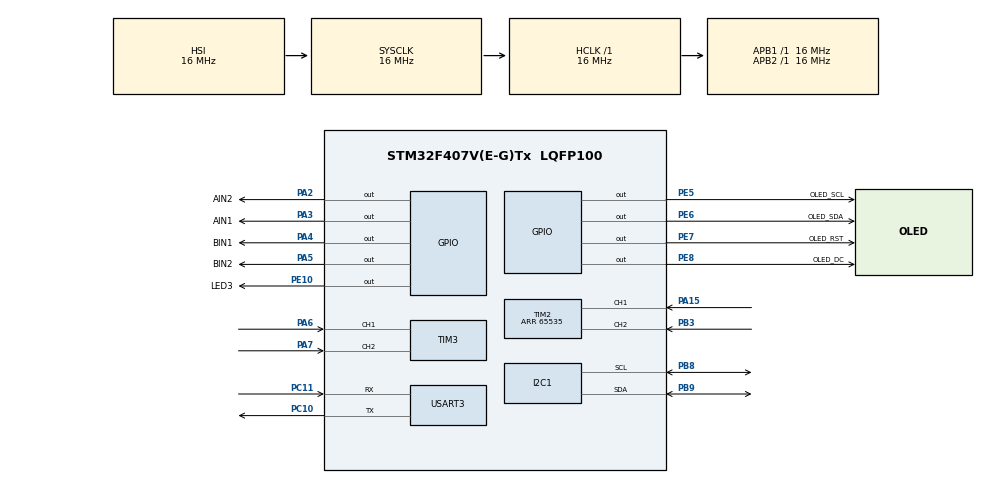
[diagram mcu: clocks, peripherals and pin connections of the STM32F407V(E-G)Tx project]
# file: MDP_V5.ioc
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FREERTOS.Tasks01=defaultTask,40,128,StartDefaultTask,Default,NULL,Dynamic,NULL,NULL;DisplayTask,40,128,Display,Default,NULL,Dynamic,NULL,NULL;Motor_L,40,128,LeftMotor,Default,NULL,Dynamic,NULL,NULL;Motor_R,8,128,RightMotor,Default,NULL,Dynamic,NULL,NULL;GyroReadTask,40,128,GyroFunc,Default,NULL,Dynamic,NULL,NULL
Mcu.Family=STM32F4
Mcu.Name=STM32F407V(E-G)Tx
Mcu.Package=LQFP100
NVIC.PriorityGroup=NVIC_PRIORITYGROUP_4
NVIC.USART3_IRQn=true\:5\:0\:false\:false\:true\:true\:true\:true\:true
PA15.Signal=S_TIM2_CH1_ETR
PA2.GPIO_Label=AIN2
PA2.Signal=GPIO_Output
PA3.GPIO_Label=AIN1
PA3.Signal=GPIO_Output
PA4.GPIO_Label=BIN1
PA4.Signal=GPIO_Output
PA5.GPIO_Label=BIN2
PA5.Signal=GPIO_Output
PA6.Signal=S_TIM3_CH1
PA7.Signal=S_TIM3_CH2
PB3.Signal=S_TIM2_CH2
PB8.Mode=I2C
PB8.Signal=I2C1_SCL
PB9.Mode=I2C
PB9.Signal=I2C1_SDA
PC10.Mode=Asynchronous
PC10.Signal=USART3_TX
PC11.Mode=Asynchronous
PC11.Signal=USART3_RX
PC6.GPIO_Label=PWMA
PC6.Signal=S_TIM8_CH1
PC7.GPIO_Label=PWMB
PC7.Signal=S_TIM8_CH2
PE10.GPIO_Label=LED3
PE10.Signal=GPIO_Output
PE14.GPIO_Label=Servo
PE14.Signal=S_TIM1_CH4
PE5.GPIO_Label=OLED_SCL
PE5.Signal=GPIO_Output
PE6.GPIO_Label=OLED_SDA
PE6.Signal=GPIO_Output
PE7.GPIO_Label=OLED_RST
PE7.Signal=GPIO_Output
PE8.GPIO_Label=OLED_DC
PE8.Signal=GPIO_Output
ProjectManager.HeapSize=0x200
ProjectManager.StackSize=0x400
ProjectManager.TargetToolchain=STM32CubeIDE
RCC.AHBFreq_Value=16000000
RCC.APB1Freq_Value=16000000
RCC.APB2Freq_Value=16000000
RCC.CortexFreq_Value=16000000
RCC.HSE_VALUE=25000000
RCC.HSI_VALUE=16000000
RCC.LSE_VALUE=32768
RCC.SYSCLKFreq_VALUE=16000000
RCC.VCOOutputFreq_Value=192000000
SH.S_TIM1_CH4.0=TIM1_CH4
SH.S_TIM2_CH1_ETR.0=TIM2_CH1,Encoder_Interface
SH.S_TIM2_CH2.0=TIM2_CH2,Encoder_Interface
SH.S_TIM3_CH1.0=TIM3_CH1,Encoder_Interface
SH.S_TIM3_CH2.0=TIM3_CH2,Encoder_Interface
SH.S_TIM8_CH1.0=TIM8_CH1
SH.S_TIM8_CH2.0=TIM8_CH2
TIM1.Channel-PWM\ Generation4\ No\ Output=TIM_CHANNEL_4
TIM1.Period=1000
TIM1.Prescaler=160
TIM2.EncoderMode=TIM_ENCODERMODE_TI12
TIM2.IC1Filter=10
TIM2.IC2Filter=10
TIM2.Period=65535
TIM3.EncoderMode=TIM_ENCODERMODE_TI12
TIM3.IC1Filter=10
TIM3.IC2Filter=10
TIM8.Channel-PWM\ Generation1\ No\ Output=TIM_CHANNEL_1
TIM8.Channel-PWM\ Generation2\ No\ Output=TIM_CHANNEL_2
TIM8.Period=7199
USART3.VirtualMode=VM_ASYNC
VP_FREERTOS_VS_CMSIS_V2.Mode=CMSIS_V2
VP_TIM1_VS_ClockSourceINT.Mode=Internal
VP_TIM1_VS_no_output4.Mode=PWM Generation4 No Output
VP_TIM8_VS_ClockSourceINT.Mode=Internal
VP_TIM8_VS_no_output1.Mode=PWM Generation1 No Output
VP_TIM8_VS_no_output2.Mode=PWM Generation2 No Output
board=custom

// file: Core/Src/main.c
/* USER CODE BEGIN Header */
/**
  ******************************************************************************
  * @file           : main.c
  * @brief          : Main program body
  ******************************************************************************
  * @attention
  *
  * Copyright (c) 2022 STMicroelectronics.
  * All rights reserved.
  *
  * This software is licensed under terms that can be found in the LICENSE file
  * in the root directory of this software component.
  * If no LICENSE file comes with this software, it is provided AS-IS.
  *
  ******************************************************************************
  */
/* USER CODE END Header */
#include "main.h"
#include "cmsis_os.h"

/* USER CODE BEGIN Includes */
#include "oled.h"
#include "ICM20948.h"
#include "math.h"
/* USER CODE END Includes */

I2C_HandleTypeDef hi2c1;

TIM_HandleTypeDef htim1;
TIM_HandleTypeDef htim2;
TIM_HandleTypeDef htim3;
TIM_HandleTypeDef htim8;

UART_HandleTypeDef huart3;

/* Definitions for defaultTask */
osThreadId_t defaultTaskHandle;
const osThreadAttr_t defaultTask_attributes = {
  .name = "defaultTask",
  .stack_size = 128 * 4,
  .priority = (osPriority_t) osPriorityHigh,
};
/* Definitions for DisplayTask */
osThreadId_t DisplayTaskHandle;
const osThreadAttr_t DisplayTask_attributes = {
  .name = "DisplayTask",
  .stack_size = 128 * 4,
  .priority = (osPriority_t) osPriorityHigh,
};
/* Definitions for Motor_L */
osThreadId_t Motor_LHandle;
const osThreadAttr_t Motor_L_attributes = {
  .name = "Motor_L",
  .stack_size = 128 * 4,
  .priority = (osPriority_t) osPriorityHigh,
};
/* Definitions for Motor_R */
osThreadId_t Motor_RHandle;
const osThreadAttr_t Motor_R_attributes = {
  .name = "Motor_R",
  .stack_size = 128 * 4,
  .priority = (osPriority_t) osPriorityLow,
};
/* Definitions for GyroReadTask */
osThreadId_t GyroReadTaskHandle;
const osThreadAttr_t GyroReadTask_attributes = {
  .name = "GyroReadTask",
  .stack_size = 128 * 4,
  .priority = (osPriority_t) osPriorityHigh,
};

void SystemClock_Config(void);
static void MX_GPIO_Init(void);
static void MX_TIM8_Init(void);
static void MX_TIM2_Init(void);
static void MX_TIM1_Init(void);
static void MX_USART3_UART_Init(void);
static void MX_TIM3_Init(void);
static void MX_I2C1_Init(void);
void StartDefaultTask(void *argument);
void Display(void *argument);
void LeftMotor(void *argument);
void RightMotor(void *argument);
void GyroFunc(void *argument);

/* USER CODE BEGIN 0 */
uint16_t pwmVal = 1500, pwmVal_S = 1500*12/28, pwmVal_L = 1500;
uint8_t Buffer[5];
int32_t heading_rbt = 0;

/* USER CODE END 0 */

int main(void)
{

  /* MCU Configuration--------------------------------------------------------*/

  /* Reset of all peripherals, Initializes the Flash interface and the Systick. */
  HAL_Init();

  /* USER CODE BEGIN Init */

  Buffer[0] = 'd';
  Buffer[1] = 'W';
  Buffer[2] = '0';
  Buffer[3] = '0';
  Buffer[4] = '0';
  /* USER CODE END Init */

  /* Configure the system clock */
  SystemClock_Config();

  /* Initialize all configured peripherals */
  MX_GPIO_Init();
  MX_TIM8_Init();
  MX_TIM2_Init();
  MX_TIM1_Init();
  MX_USART3_UART_Init();
  MX_TIM3_Init();
  MX_I2C1_Init();
  /* USER CODE BEGIN 2 */
  OLED_Init();
  CoreDebug->DEMCR |= CoreDebug_DEMCR_TRCENA_Msk;
  DWT->CYCCNT = 0;
  DWT->CTRL |= DWT_CTRL_CYCCNTENA_Msk;
  /* USER CODE END 2 */

  /* Init scheduler */
  osKernelInitialize();

  /* Create the thread(s) */
  /* creation of defaultTask */
  defaultTaskHandle = osThreadNew(StartDefaultTask, NULL, &defaultTask_attributes);

  /* creation of DisplayTask */
  DisplayTaskHandle = osThreadNew(Display, NULL, &DisplayTask_attributes);

  /* creation of Motor_L */
  Motor_LHandle = osThreadNew(LeftMotor, NULL, &Motor_L_attributes);

  /* creation of Motor_R */
  Motor_RHandle = osThreadNew(RightMotor, NULL, &Motor_R_attributes);

  /* creation of GyroReadTask */
  GyroReadTaskHandle = osThreadNew(GyroFunc, NULL, &GyroReadTask_attributes);

  /* Start scheduler */
  osKernelStart();

  /* We should never get here as control is now taken by the scheduler */
  /* Infinite loop */
  while (1)
  {

  }
}

void SystemClock_Config(void)
{
  RCC_OscInitTypeDef RCC_OscInitStruct = {0};
  RCC_ClkInitTypeDef RCC_ClkInitStruct = {0};

  /** Configure the main internal regulator output voltage
  */
  __HAL_RCC_PWR_CLK_ENABLE();
  __HAL_PWR_VOLTAGESCALING_CONFIG(PWR_REGULATOR_VOLTAGE_SCALE1);
  /** Initializes the RCC Oscillators according to the specified parameters
  * in the RCC_OscInitTypeDef structure.
  */
  RCC_OscInitStruct.OscillatorType = RCC_OSCILLATORTYPE_HSI;
  RCC_OscInitStruct.HSIState = RCC_HSI_ON;
  RCC_OscInitStruct.HSICalibrationValue = RCC_HSICALIBRATION_DEFAULT;
  RCC_OscInitStruct.PLL.PLLState = RCC_PLL_NONE;
  if (HAL_RCC_OscConfig(&RCC_OscInitStruct) != HAL_OK)
  {
    Error_Handler();
  }
  /** Initializes the CPU, AHB and APB buses clocks
  */
  RCC_ClkInitStruct.ClockType = RCC_CLOCKTYPE_HCLK|RCC_CLOCKTYPE_SYSCLK
                              |RCC_CLOCKTYPE_PCLK1|RCC_CLOCKTYPE_PCLK2;
  RCC_ClkInitStruct.SYSCLKSource = RCC_SYSCLKSOURCE_HSI;
  RCC_ClkInitStruct.AHBCLKDivider = RCC_SYSCLK_DIV1;
  RCC_ClkInitStruct.APB1CLKDivider = RCC_HCLK_DIV1;
  RCC_ClkInitStruct.APB2CLKDivider = RCC_HCLK_DIV1;

  if (HAL_RCC_ClockConfig(&RCC_ClkInitStruct, FLASH_LATENCY_0) != HAL_OK)
  {
    Error_Handler();
  }
}

static void MX_I2C1_Init(void)
{

  hi2c1.Instance = I2C1;
  hi2c1.Init.ClockSpeed = 100000;
  hi2c1.Init.DutyCycle = I2C_DUTYCYCLE_2;
  hi2c1.Init.OwnAddress1 = 0;
  hi2c1.Init.AddressingMode = I2C_ADDRESSINGMODE_7BIT;
  hi2c1.Init.DualAddressMode = I2C_DUALADDRESS_DISABLE;
  hi2c1.Init.OwnAddress2 = 0;
  hi2c1.Init.GeneralCallMode = I2C_GENERALCALL_DISABLE;
  hi2c1.Init.NoStretchMode = I2C_NOSTRETCH_DISABLE;
  if (HAL_I2C_Init(&hi2c1) != HAL_OK)
  {
    Error_Handler();
  }

}

static void MX_TIM1_Init(void)
{

  TIM_ClockConfigTypeDef sClockSourceConfig = {0};
  TIM_MasterConfigTypeDef sMasterConfig = {0};
  TIM_OC_InitTypeDef sConfigOC = {0};
  TIM_BreakDeadTimeConfigTypeDef sBreakDeadTimeConfig = {0};

  htim1.Instance = TIM1;
  htim1.Init.Prescaler = 160;
  htim1.Init.CounterMode = TIM_COUNTERMODE_UP;
  htim1.Init.Period = 1000;
  htim1.Init.ClockDivision = TIM_CLOCKDIVISION_DIV1;
  htim1.Init.RepetitionCounter = 0;
  htim1.Init.AutoReloadPreload = TIM_AUTORELOAD_PRELOAD_DISABLE;
  if (HAL_TIM_Base_Init(&htim1) != HAL_OK)
  {
    Error_Handler();
  }
  sClockSourceConfig.ClockSource = TIM_CLOCKSOURCE_INTERNAL;
  if (HAL_TIM_ConfigClockSource(&htim1, &sClockSourceConfig) != HAL_OK)
  {
    Error_Handler();
  }
  if (HAL_TIM_PWM_Init(&htim1) != HAL_OK)
  {
    Error_Handler();
  }
  sMasterConfig.MasterOutputTrigger = TIM_TRGO_RESET;
  sMasterConfig.MasterSlaveMode = TIM_MASTERSLAVEMODE_DISABLE;
  if (HAL_TIMEx_MasterConfigSynchronization(&htim1, &sMasterConfig) != HAL_OK)
  {
    Error_Handler();
  }
  sConfigOC.OCMode = TIM_OCMODE_PWM1;
  sConfigOC.Pulse = 0;
  sConfigOC.OCPolarity = TIM_OCPOLARITY_HIGH;
  sConfigOC.OCFastMode = TIM_OCFAST_DISABLE;
  sConfigOC.OCIdleState = TIM_OCIDLESTATE_RESET;
  sConfigOC.OCNIdleState = TIM_OCNIDLESTATE_RESET;
  if (HAL_TIM_PWM_ConfigChannel(&htim1, &sConfigOC, TIM_CHANNEL_4) != HAL_OK)
  {
    Error_Handler();
  }
  sBreakDeadTimeConfig.OffStateRunMode = TIM_OSSR_DISABLE;
  sBreakDeadTimeConfig.OffStateIDLEMode = TIM_OSSI_DISABLE;
  sBreakDeadTimeConfig.LockLevel = TIM_LOCKLEVEL_OFF;
  sBreakDeadTimeConfig.DeadTime = 0;
  sBreakDeadTimeConfig.BreakState = TIM_BREAK_DISABLE;
  sBreakDeadTimeConfig.BreakPolarity = TIM_BREAKPOLARITY_HIGH;
  sBreakDeadTimeConfig.AutomaticOutput = TIM_AUTOMATICOUTPUT_DISABLE;
  if (HAL_TIMEx_ConfigBreakDeadTime(&htim1, &sBreakDeadTimeConfig) != HAL_OK)
  {
    Error_Handler();
  }

}

static void MX_TIM2_Init(void)
{

  TIM_Encoder_InitTypeDef sConfig = {0};
  TIM_MasterConfigTypeDef sMasterConfig = {0};

  htim2.Instance = TIM2;
  htim2.Init.Prescaler = 0;
  htim2.Init.CounterMode = TIM_COUNTERMODE_UP;
  htim2.Init.Period = 65535;
  htim2.Init.ClockDivision = TIM_CLOCKDIVISION_DIV1;
  htim2.Init.AutoReloadPreload = TIM_AUTORELOAD_PRELOAD_DISABLE;
  sConfig.EncoderMode = TIM_ENCODERMODE_TI12;
  sConfig.IC1Polarity = TIM_ICPOLARITY_RISING;
  sConfig.IC1Selection = TIM_ICSELECTION_DIRECTTI;
  sConfig.IC1Prescaler = TIM_ICPSC_DIV1;
  sConfig.IC1Filter = 10;
  sConfig.IC2Polarity = TIM_ICPOLARITY_RISING;
  sConfig.IC2Selection = TIM_ICSELECTION_DIRECTTI;
  sConfig.IC2Prescaler = TIM_ICPSC_DIV1;
  sConfig.IC2Filter = 10;
  if (HAL_TIM_Encoder_Init(&htim2, &sConfig) != HAL_OK)
  {
    Error_Handler();
  }
  sMasterConfig.MasterOutputTrigger = TIM_TRGO_RESET;
  sMasterConfig.MasterSlaveMode = TIM_MASTERSLAVEMODE_DISABLE;
  if (HAL_TIMEx_MasterConfigSynchronization(&htim2, &sMasterConfig) != HAL_OK)
  {
    Error_Handler();
  }

}

static void MX_TIM3_Init(void)
{

  TIM_Encoder_InitTypeDef sConfig = {0};
  TIM_MasterConfigTypeDef sMasterConfig = {0};

  htim3.Instance = TIM3;
  htim3.Init.Prescaler = 0;
  htim3.Init.CounterMode = TIM_COUNTERMODE_UP;
  htim3.Init.Period = 65535;
  htim3.Init.ClockDivision = TIM_CLOCKDIVISION_DIV1;
  htim3.Init.AutoReloadPreload = TIM_AUTORELOAD_PRELOAD_DISABLE;
  sConfig.EncoderMode = TIM_ENCODERMODE_TI12;
  sConfig.IC1Polarity = TIM_ICPOLARITY_RISING;
  sConfig.IC1Selection = TIM_ICSELECTION_DIRECTTI;
  sConfig.IC1Prescaler = TIM_ICPSC_DIV1;
  sConfig.IC1Filter = 10;
  sConfig.IC2Polarity = TIM_ICPOLARITY_RISING;
  sConfig.IC2Selection = TIM_ICSELECTION_DIRECTTI;
  sConfig.IC2Prescaler = TIM_ICPSC_DIV1;
  sConfig.IC2Filter = 10;
  if (HAL_TIM_Encoder_Init(&htim3, &sConfig) != HAL_OK)
  {
    Error_Handler();
  }
  sMasterConfig.MasterOutputTrigger = TIM_TRGO_RESET;
  sMasterConfig.MasterSlaveMode = TIM_MASTERSLAVEMODE_DISABLE;
  if (HAL_TIMEx_MasterConfigSynchronization(&htim3, &sMasterConfig) != HAL_OK)
  {
    Error_Handler();
  }

}

static void MX_TIM8_Init(void)
{

  TIM_ClockConfigTypeDef sClockSourceConfig = {0};
  TIM_MasterConfigTypeDef sMasterConfig = {0};
  TIM_OC_InitTypeDef sConfigOC = {0};
  TIM_BreakDeadTimeConfigTypeDef sBreakDeadTimeConfig = {0};

  htim8.Instance = TIM8;
  htim8.Init.Prescaler = 0;
  htim8.Init.CounterMode = TIM_COUNTERMODE_UP;
  htim8.Init.Period = 7199;
  htim8.Init.ClockDivision = TIM_CLOCKDIVISION_DIV1;
  htim8.Init.RepetitionCounter = 0;
  htim8.Init.AutoReloadPreload = TIM_AUTORELOAD_PRELOAD_DISABLE;
  if (HAL_TIM_Base_Init(&htim8) != HAL_OK)
  {
    Error_Handler();
  }
  sClockSourceConfig.ClockSource = TIM_CLOCKSOURCE_INTERNAL;
  if (HAL_TIM_ConfigClockSource(&htim8, &sClockSourceConfig) != HAL_OK)
  {
    Error_Handler();
  }
  if (HAL_TIM_PWM_Init(&htim8) != HAL_OK)
  {
    Error_Handler();
  }
  sMasterConfig.MasterOutputTrigger = TIM_TRGO_RESET;
  sMasterConfig.MasterSlaveMode = TIM_MASTERSLAVEMODE_DISABLE;
  if (HAL_TIMEx_MasterConfigSynchronization(&htim8, &sMasterConfig) != HAL_OK)
  {
    Error_Handler();
  }
  sConfigOC.OCMode = TIM_OCMODE_PWM1;
  sConfigOC.Pulse = 0;
  sConfigOC.OCPolarity = TIM_OCPOLARITY_HIGH;
  sConfigOC.OCNPolarity = TIM_OCNPOLARITY_HIGH;
  sConfigOC.OCFastMode = TIM_OCFAST_DISABLE;
  sConfigOC.OCIdleState = TIM_OCIDLESTATE_RESET;
  sConfigOC.OCNIdleState = TIM_OCNIDLESTATE_RESET;
  if (HAL_TIM_PWM_ConfigChannel(&htim8, &sConfigOC, TIM_CHANNEL_1) != HAL_OK)
  {
    Error_Handler();
  }
  if (HAL_TIM_PWM_ConfigChannel(&htim8, &sConfigOC, TIM_CHANNEL_2) != HAL_OK)
  {
    Error_Handler();
  }
  sBreakDeadTimeConfig.OffStateRunMode = TIM_OSSR_DISABLE;
  sBreakDeadTimeConfig.OffStateIDLEMode = TIM_OSSI_DISABLE;
  sBreakDeadTimeConfig.LockLevel = TIM_LOCKLEVEL_OFF;
  sBreakDeadTimeConfig.DeadTime = 0;
  sBreakDeadTimeConfig.BreakState = TIM_BREAK_DISABLE;
  sBreakDeadTimeConfig.BreakPolarity = TIM_BREAKPOLARITY_HIGH;
  sBreakDeadTimeConfig.AutomaticOutput = TIM_AUTOMATICOUTPUT_DISABLE;
  if (HAL_TIMEx_ConfigBreakDeadTime(&htim8, &sBreakDeadTimeConfig) != HAL_OK)
  {
    Error_Handler();
  }

}

static void MX_USART3_UART_Init(void)
{

  huart3.Instance = USART3;
  huart3.Init.BaudRate = 115200;
  huart3.Init.WordLength = UART_WORDLENGTH_8B;
  huart3.Init.StopBits = UART_STOPBITS_1;
  huart3.Init.Parity = UART_PARITY_NONE;
  huart3.Init.Mode = UART_MODE_TX_RX;
  huart3.Init.HwFlowCtl = UART_HWCONTROL_NONE;
  huart3.Init.OverSampling = UART_OVERSAMPLING_16;
  if (HAL_UART_Init(&huart3) != HAL_OK)
  {
    Error_Handler();
  }

}

static void MX_GPIO_Init(void)
{
  GPIO_InitTypeDef GPIO_InitStruct = {0};

  /* GPIO Ports Clock Enable */
  __HAL_RCC_GPIOE_CLK_ENABLE();
  __HAL_RCC_GPIOA_CLK_ENABLE();
  __HAL_RCC_GPIOC_CLK_ENABLE();
  __HAL_RCC_GPIOB_CLK_ENABLE();

  /*Configure GPIO pin Output Level */
  HAL_GPIO_WritePin(GPIOE, OLED_SCL_Pin|OLED_SDA_Pin|OLED_RST_Pin|OLED_DC_Pin
                          |LED3_Pin, GPIO_PIN_RESET);

  /*Configure GPIO pin Output Level */
  HAL_GPIO_WritePin(GPIOA, AIN2_Pin|AIN1_Pin|BIN1_Pin|BIN2_Pin, GPIO_PIN_RESET);

  /*Configure GPIO pins : OLED_SCL_Pin OLED_SDA_Pin OLED_RST_Pin OLED_DC_Pin
                           LED3_Pin */
  GPIO_InitStruct.Pin = OLED_SCL_Pin|OLED_SDA_Pin|OLED_RST_Pin|OLED_DC_Pin
                          |LED3_Pin;
  GPIO_InitStruct.Mode = GPIO_MODE_OUTPUT_PP;
  GPIO_InitStruct.Pull = GPIO_NOPULL;
  GPIO_InitStruct.Speed = GPIO_SPEED_FREQ_LOW;
  HAL_GPIO_Init(GPIOE, &GPIO_InitStruct);

  /*Configure GPIO pins : AIN2_Pin AIN1_Pin BIN1_Pin BIN2_Pin */
  GPIO_InitStruct.Pin = AIN2_Pin|AIN1_Pin|BIN1_Pin|BIN2_Pin;
  GPIO_InitStruct.Mode = GPIO_MODE_OUTPUT_PP;
  GPIO_InitStruct.Pull = GPIO_NOPULL;
  GPIO_InitStruct.Speed = GPIO_SPEED_FREQ_LOW;
  HAL_GPIO_Init(GPIOA, &GPIO_InitStruct);

}

/* USER CODE BEGIN 4 */
uint8_t is_right(int32_t head1, int32_t head2)
{
	if(head2 > head1 && head2 - head1 < 18000) return 1;
	else if(head2 < head1 && head2 + 36000 - head1 < 18000)return 1;
	return 0;
}
int32_t get_heading_error(int32_t head1, int32_t head2, uint8_t is_counterclock)
{
	if(is_counterclock){
		if(head1 < head2){
			return head2 - head1;
		}
		else{

		}
	}
}
/* USER CODE END 4 */

void StartDefaultTask(void *argument)
{
  /* USER CODE BEGIN 5 */
  uint8_t hello[20];
  /* Infinite loop */
  HAL_UART_Receive_IT(&huart3,(uint8_t *) Buffer,5);
  for(;;)
  {
	HAL_UART_Receive_IT(&huart3,(uint8_t *) Buffer,5);
	sprintf(hello, "buff:%s", Buffer);
	OLED_ShowString(10,20,hello);
	HAL_GPIO_TogglePin(LED3_GPIO_Port,LED3_Pin);
    osDelay(1);
  }
  /* USER CODE END 5 */
}

void Display(void *argument)
{
  /* USER CODE BEGIN Display */
  uint8_t hello[20] = "testV5!\0";
  /* Infinite loop */
  for(;;)
  {
	sprintf(hello, "V5");
	OLED_ShowString(10,10,hello);
	sprintf(hello, "angle:%d", heading_rbt); // @suppress("Float formatting support")
	OLED_ShowString(10,30,hello);
	OLED_Refresh_Gram();
    osDelay(1);
  }
  /* USER CODE END Display */
}

void LeftMotor(void *argument)
{
  /* USER CODE BEGIN LeftMotor */

  HAL_TIM_PWM_Start(&htim8,TIM_CHANNEL_1);
  HAL_TIM_PWM_Start(&htim8,TIM_CHANNEL_2);
  HAL_TIM_PWM_Start(&htim1,TIM_CHANNEL_4);
  HAL_TIM_Encoder_Start(&htim2, TIM_CHANNEL_ALL);

  int cnt1, cnt2, pulse;
  int32_t tick, dist, angle, pulseneeded, pulsetotal;
  uint8_t hello[20];

  int32_t current_heading = heading_rbt;
  int32_t target_heading, start_heading, heading_error;
  int32_t angle_progress, delta_angle, prev_heading;

  cnt1 = __HAL_TIM_GET_COUNTER(&htim2);
  tick = HAL_GetTick();
  int8_t value;

  /* Infinite loop */
  for(;;){
	  value = (Buffer[2] - '0')*100 + (Buffer[3] - '0')*10 + Buffer[4] - '0';
	  dist = value;
	  angle = value*100;
	  if(Buffer[0] == 'F'){
		  HAL_GPIO_WritePin(GPIOA, AIN2_Pin, GPIO_PIN_RESET);
		  HAL_GPIO_WritePin(GPIOA, AIN1_Pin, GPIO_PIN_SET);
		  HAL_GPIO_WritePin(GPIOA, BIN2_Pin, GPIO_PIN_RESET);
		  HAL_GPIO_WritePin(GPIOA, BIN1_Pin, GPIO_PIN_SET);
	  }
	  else if(Buffer[0] == 'B'){
		  HAL_GPIO_WritePin(GPIOA, AIN1_Pin, GPIO_PIN_RESET);
		  HAL_GPIO_WritePin(GPIOA, AIN2_Pin, GPIO_PIN_SET);
		  HAL_GPIO_WritePin(GPIOA, BIN1_Pin, GPIO_PIN_RESET);
		  HAL_GPIO_WritePin(GPIOA, BIN2_Pin, GPIO_PIN_SET);
	  }
	  else{
		  __HAL_TIM_SetCompare(&htim8,TIM_CHANNEL_1,0);
		  __HAL_TIM_SetCompare(&htim8,TIM_CHANNEL_2,0);
		  continue;
	  }
	  switch(Buffer[1]){
	  case 'L':
		  htim1.Instance ->CCR4 = 91;
		  HAL_Delay(500);
//		  pulseneeded = angle*34*pwmVal_S/pwmVal_L;
//		  pulseneeded = angle*0.115*59;
		  //pulseneeded = angle*0.35*59*60/90;
//		  current_heading = heading_rbt;
//		  start_heading = current_heading;
//		  if(Buffer[0] == 'F'){
//			  if(current_heading < angle*100) target_heading = current_heading + 36000 - angle*100;
//			  else target_heading = current_heading - angle*100;
//			  angle_progress = 0;
//		  }
//		  else if(Buffer[0] == 'B'){
//			  target_heading = current_heading + angle*100;
//			  if(target_heading >= 36000) target_heading = target_heading - 36000;
//		  }
//		  __HAL_TIM_SetCompare(&htim8,TIM_CHANNEL_1,pwmVal_S);
//		  __HAL_TIM_SetCompare(&htim8,TIM_CHANNEL_2,pwmVal_L);
		  break;
	  case 'R':
		  htim1.Instance ->CCR4 = 240;
		  HAL_Delay(500);
//		  pulseneeded = angle*39.4;
//		  pulseneeded = angle*0.408*59;
		  //pulseneeded = angle*0.35*59*115/90;
//		  current_heading = heading_rbt;
//		  start_heading = current_heading;
//		  if(Buffer[0] == 'F'){
//			  target_heading = current_heading + angle*100;
//			  if(target_heading >= 36000) target_heading = target_heading - 36000;
//		  }
//		  else if(Buffer[0] == 'B'){
//			  if(current_heading < angle*100) target_heading = current_heading + 36000 - angle*100;
//			  else target_heading = current_heading - angle*100;
//		  }
//		  __HAL_TIM_SetCompare(&htim8,TIM_CHANNEL_1,pwmVal_L);
//		  __HAL_TIM_SetCompare(&htim8,TIM_CHANNEL_2,pwmVal_S);
		  break;
	  default:
		  htim1.Instance ->CCR4 = 148.4;
		  HAL_Delay(500);
		  //pulseneeded = dist*68*1.03;
		  pulseneeded = dist*45.4*10/6.55*70/66;
		  __HAL_TIM_SetCompare(&htim8,TIM_CHANNEL_1,pwmVal);
		  __HAL_TIM_SetCompare(&htim8,TIM_CHANNEL_2,pwmVal);
		  pulsetotal = 0;
		  do{
			  if(HAL_GetTick()-tick > 50L){
					sprintf(hello, "pulseL:%5d\0", pulseneeded);
					OLED_ShowString(10,30,hello);

					cnt2 = __HAL_TIM_GET_COUNTER(&htim2);
					if(__HAL_TIM_IS_TIM_COUNTING_DOWN(&htim2)){
						if(cnt2<cnt1)
						{
							pulse = cnt1 - cnt2;
							//sprintf(hello, "total1:%5d\0", pulsetotal);
						}
						else
						{
							pulse = (65535 - cnt2) + cnt1;
							//sprintf(hello, "total2:%5d\0", pulsetotal);
						}
					}
					else{
						if(cnt2>cnt1)
						{
							pulse = cnt2 - cnt1;
							//sprintf(hello, "total3:%5d\0", pulsetotal);
						}
						else
						{
							pulse = (65535 - cnt1) + cnt2;
							//sprintf(hello, "total4:%5d\0", pulsetotal);
						}
					}
					pulsetotal = (pulsetotal + pulse)%65535;
					//OLED_ShowString(10,40,hello);
					cnt1 = __HAL_TIM_GET_COUNTER(&htim2);
					tick = HAL_GetTick();
			  }
		  }while(pulsetotal < pulseneeded);
		  __HAL_TIM_SetCompare(&htim8,TIM_CHANNEL_1,0);
		  __HAL_TIM_SetCompare(&htim8,TIM_CHANNEL_2,0);
		  Buffer[0] = 'd';
		  HAL_UART_Transmit(&huart3,"R", sizeof("R"), HAL_MAX_DELAY);
		  continue;
	  }
	  delta_angle = 0;
	  angle_progress = 0;
	  prev_heading = heading_rbt;
	  if(Buffer[0] == 'F' && Buffer[1] == 'L'){
		  do{
			  __HAL_TIM_SetCompare(&htim8,TIM_CHANNEL_1,pwmVal_S*3);
			  __HAL_TIM_SetCompare(&htim8,TIM_CHANNEL_2,pwmVal_L*3);

			  delta_angle = prev_heading - heading_rbt;
			  prev_heading = heading_rbt;
			  if(delta_angle < -18000) delta_angle = delta_angle + 36000;
			  angle_progress = angle_progress + delta_angle;
			  sprintf(hello, "currentL%d ", angle_progress);
			  OLED_ShowString(10,40,hello);
			  sprintf(hello, "targetL%d ", angle);
			  OLED_ShowString(10,50,hello);
			  osDelay(1);
		  }while(angle_progress < angle);
		  HAL_GPIO_WritePin(GPIOA, AIN1_Pin, GPIO_PIN_RESET);
		  HAL_GPIO_WritePin(GPIOA, AIN2_Pin, GPIO_PIN_SET);
		  HAL_GPIO_WritePin(GPIOA, BIN1_Pin, GPIO_PIN_RESET);
		  HAL_GPIO_WritePin(GPIOA, BIN2_Pin, GPIO_PIN_SET);

		  heading_error = target_heading - current_heading;
		  if(heading_error < -18000) heading_error = heading_error + 36000;
		  do{
			  __HAL_TIM_SetCompare(&htim8,TIM_CHANNEL_1,pwmVal_S*0.7);
			  __HAL_TIM_SetCompare(&htim8,TIM_CHANNEL_2,pwmVal_L*0.7);

			  delta_angle = heading_rbt - prev_heading;
			  prev_heading = heading_rbt;
			  if(delta_angle < -18000) delta_angle = delta_angle + 36000;
			  angle_progress = angle_progress - delta_angle;
			  sprintf(hello, "currentS%d ", angle_progress);
			  OLED_ShowString(10,40,hello);
			  sprintf(hello, "targetS%d ", angle);
			  OLED_ShowString(10,50,hello);
			  osDelay(1);
		  }while(angle_progress > angle);
	  }
	  else if(Buffer[0] == 'B' && Buffer[1] == 'L'){
		  while(abs(current_heading - target_heading ) > 100){
			  current_heading = heading_rbt;
			  __HAL_TIM_SetCompare(&htim8,TIM_CHANNEL_1,pwmVal_S*1);
			  __HAL_TIM_SetCompare(&htim8,TIM_CHANNEL_2,pwmVal_L*1);
			  HAL_Delay(1);
		  }
//		  while(!is_right(target_heading, current_heading)){
//			  current_heading = heading_rbt;
//			  __HAL_TIM_SetCompare(&htim8,TIM_CHANNEL_1,pwmVal_S*0.5);
//			  __HAL_TIM_SetCompare(&htim8,TIM_CHANNEL_2,pwmVal_L*0.5);
//			  HAL_Delay(1);
//		  }
	  }
	  if(Buffer[0] == 'F' && Buffer[1] == 'R'){
		  while(abs(current_heading - target_heading ) > 100){
			  current_heading = heading_rbt;
			  __HAL_TIM_SetCompare(&htim8,TIM_CHANNEL_2,pwmVal_S*1);
			  __HAL_TIM_SetCompare(&htim8,TIM_CHANNEL_1,pwmVal_L*1);
			  HAL_Delay(1);
		  }
//		  while(is_right(target_heading, current_heading)){
//			  current_heading = heading_rbt;
//			  __HAL_TIM_SetCompare(&htim8,TIM_CHANNEL_2,pwmVal_S*0.5);
//			  __HAL_TIM_SetCompare(&htim8,TIM_CHANNEL_1,pwmVal_L*0.5);
//			  HAL_Delay(1);
//		  }
	  }
	  else if(Buffer[0] == 'B' && Buffer[1] == 'R'){
		  while(abs(current_heading - target_heading ) > 100){
			  current_heading = heading_rbt;
			  __HAL_TIM_SetCompare(&htim8,TIM_CHANNEL_2,pwmVal_S*1);
			  __HAL_TIM_SetCompare(&htim8,TIM_CHANNEL_1,pwmVal_L*1);
			  HAL_Delay(1);
		  }
//		  while(!is_right(target_heading, current_heading)){
//			  current_heading = heading_rbt;
//			  __HAL_TIM_SetCompare(&htim8,TIM_CHANNEL_2,pwmVal_S*0.5);
//			  __HAL_TIM_SetCompare(&htim8,TIM_CHANNEL_1,pwmVal_L*0.5);
//			  HAL_Delay(1);
//		  }
	  }
	  __HAL_TIM_SetCompare(&htim8,TIM_CHANNEL_1,0);
	  __HAL_TIM_SetCompare(&htim8,TIM_CHANNEL_2,0);
	  Buffer[0] = 'd';
	  HAL_UART_Transmit(&huart3,"R", sizeof("R"), HAL_MAX_DELAY);
  }
  /* USER CODE END LeftMotor */
}

void RightMotor(void *argument)
{
  for(;;)
  {
    osDelay(1);
  }
}

void GyroFunc(void *argument)
{
  /* USER CODE BEGIN GyroFunc */
	  ICM20948 imu;

	  uint8_t* status = IMU_Initialise(&imu, &hi2c1, &huart3);

	  char sbuf[6];
	  uint16_t gyro_val, left, right;
	  HAL_Delay(300);
	  Gyro_calibrate(&imu);
	  while (1)
	  {
		  HAL_GPIO_TogglePin(LED3_GPIO_Port, LED3_Pin);

		  taskENTER_CRITICAL();
		  heading_rbt = IMU_GyroReadHeading(&imu);
		  taskEXIT_CRITICAL();

		  sprintf(sbuf, "%u ", heading_rbt);
		  HAL_UART_Transmit(&huart3, (uint8_t *)sbuf, sizeof(sbuf), HAL_MAX_DELAY);
		  HAL_UART_Transmit(&huart3, (uint8_t *)"\r\n", 2, HAL_MAX_DELAY);
		  osDelayUntil(10);
	  }
  /* USER CODE END GyroFunc */
}

void Error_Handler(void)
{
  __disable_irq();
  while (1)
  {
  }
}
